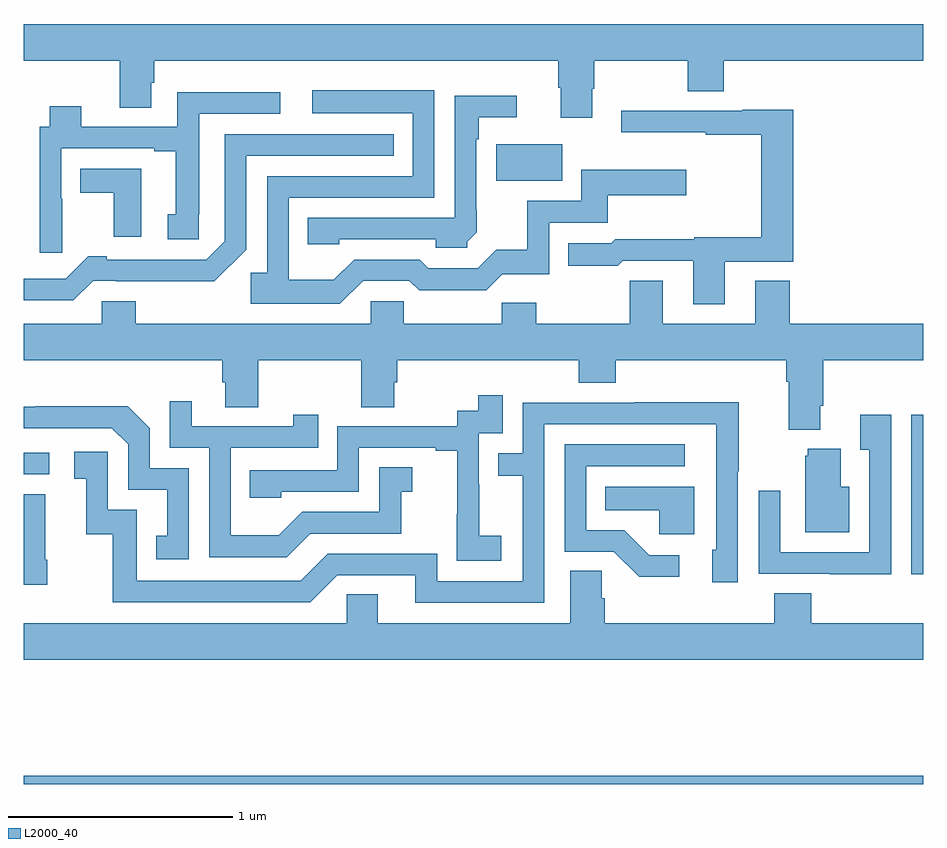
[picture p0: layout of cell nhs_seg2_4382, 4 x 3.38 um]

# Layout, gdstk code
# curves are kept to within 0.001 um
import gdstk
lib = gdstk.Library(unit=1e-6, precision=1e-09)
def R(c, l, rs):  # rectangles x0, y0, x1, y1
    for r in rs: c.add(gdstk.rectangle(r[:2], r[2:], *l))
def P(c, l, *ps):  # polygons
    for p in ps: c.add(gdstk.Polygon(p, *l))
L2000_40 = (2000, 40)

nhs_seg2_4382 = lib.new_cell('nhs_seg2_4382')
R(nhs_seg2_4382, L2000_40, [(349,597.8,353,597.836), (352.947,598.733,353,599.443), (349,599.178,349.114,599.274), (351.102,600.482,351.395,600.646)])
P(nhs_seg2_4382, L2000_40, [(351.529,600.892),(351.537,600.892),(351.537,601.016),(351.952,601.016),(351.952,600.88),(352.112,600.88),(352.112,601.016),(353,601.016),(353,601.18),(349,601.18),(349,601.016),(349.427,601.016),(349.427,600.808),(349.567,600.808),(349.567,600.918),(349.58,600.918),(349.58,601.016),(351.377,601.016),(351.377,600.897),(351.389,600.897),(351.389,600.762),(351.529,600.762)],
  [(350.509,600.039),(350.715,600.039),(350.758,599.997),(351.056,599.997),(351.128,600.068),(351.336,600.068),(351.336,600.297),(351.596,600.297),(351.596,600.419),(351.946,600.419),(351.946,600.532),(351.48,600.532),(351.48,600.393),(351.238,600.393),(351.238,600.177),(351.102,600.177),(351.018,600.093),(350.799,600.093),(350.76,600.132),(350.469,600.132),(350.379,600.042),(350.178,600.042),(350.178,600.408),(350.826,600.408),(350.826,600.886),(350.283,600.886),(350.283,600.782),(350.73,600.782),(350.73,600.504),(350.082,600.504),(350.082,600.074),(350.009,600.074),(350.009,599.936),(350.406,599.936)],
  [(349.17,600.402),(349.167,600.402),(349.167,600.627),(349.58,600.627),(349.58,600.615),(349.676,600.615),(349.676,600.335),(349.64,600.335),(349.64,600.222),(349.778,600.222),(349.778,600.334),(349.78,600.334),(349.78,600.78),(350.14,600.78),(350.14,600.877),(349.683,600.877),(349.683,600.723),(349.255,600.723),(349.255,600.814),(349.115,600.814),(349.115,600.723),(349.07,600.723),(349.07,600.162),(349.17,600.162)],
  [(350.973,600.212),(351.015,600.253),(351.015,600.352),(351.012,600.352),(351.012,600.668),(351.024,600.668),(351.024,600.765),(351.193,600.765),(351.193,600.862),(350.916,600.862),(350.916,600.318),(350.263,600.318),(350.263,600.201),(350.403,600.201),(350.403,600.222),(350.831,600.222),(350.831,600.186),(350.973,600.186)],
  [(352.117,600.123),(352.421,600.123),(352.421,600.798),(352.195,600.798),(352.195,600.795),(351.657,600.795),(351.657,600.698),(352.033,600.698),(352.033,600.687),(352.279,600.687),(352.279,600.232),(351.981,600.232),(351.981,600.223),(351.631,600.223),(351.612,600.204),(351.421,600.204),(351.421,600.104),(351.641,600.104),(351.663,600.126),(351.977,600.126),(351.977,599.934),(352.117,599.934)],
  [(349.308,600.039),(349.408,600.039),(349.408,600.035),(349.848,600.035),(349.989,600.176),(349.989,600.594),(350.645,600.594),(350.645,600.69),(349.893,600.69),(349.893,600.213),(349.812,600.132),(349.369,600.132),(349.369,600.147),(349.287,600.147),(349.186,600.046),(349,600.046),(349,599.952),(349.221,599.952)],
  [(349.522,600.537),(349.252,600.537),(349.252,600.429),(349.4,600.429),(349.4,600.234),(349.522,600.234)],
  [(352.406,600.038),(352.253,600.038),(352.253,599.848),(351.841,599.848),(351.841,600.038),(351.694,600.038),(351.694,599.848),(351.279,599.848),(351.279,599.941),(351.125,599.941),(351.125,599.848),(350.69,599.848),(350.69,599.946),(350.544,599.946),(350.544,599.848),(349.499,599.848),(349.499,599.946),(349.347,599.946),(349.347,599.848),(349,599.848),(349,599.684),(349.883,599.684),(349.883,599.586),(349.895,599.586),(349.895,599.476),(350.043,599.476),(350.043,599.684),(350.5,599.684),(350.5,599.476),(350.647,599.476),(350.647,599.586),(350.66,599.586),(350.66,599.684),(351.467,599.684),(351.467,599.585),(351.632,599.585),(351.632,599.684),(352.391,599.684),(352.391,599.588),(352.403,599.588),(352.403,599.375),(352.543,599.375),(352.543,599.482),(352.556,599.482),(352.556,599.684),(353,599.684),(353,599.848),(352.406,599.848)],
  [(351.124,598.903),(351.026,598.903),(351.026,599.132),(351.024,599.132),(351.024,599.361),(351.129,599.361),(351.129,599.53),(351.021,599.53),(351.021,599.46),(350.928,599.46),(350.928,599.391),(350.394,599.391),(350.394,599.196),(350.005,599.196),(350.005,599.073),(350.145,599.073),(350.145,599.1),(350.49,599.1),(350.49,599.295),(350.831,599.295),(350.831,599.283),(350.927,599.283),(350.927,598.999),(350.926,598.999),(350.926,598.793),(351.124,598.793)],
  [(350.275,598.914),(350.679,598.914),(350.679,599.099),(350.728,599.099),(350.728,599.209),(350.58,599.209),(350.58,599.01),(350.238,599.01),(350.134,598.906),(349.92,598.906),(349.92,599.295),(350.309,599.295),(350.309,599.443),(350.198,599.443),(350.198,599.391),(349.747,599.391),(349.747,599.503),(349.65,599.503),(349.65,599.295),(349.824,599.295),(349.824,598.809),(350.17,598.809)],
  [(351.315,599.4),(352.079,599.4),(352.08,598.842),(352.061,598.842),(352.061,598.698),(352.176,598.698),(352.176,599.191),(352.179,599.191),(352.179,599.498),(351.715,599.498),(351.715,599.496),(351.219,599.496),(351.219,599.271),(351.109,599.271),(351.109,599.17),(351.219,599.17),(351.219,598.701),(350.838,598.701),(350.838,598.824),(350.352,598.824),(350.232,598.704),(349.503,598.704),(349.503,599.019),(349.374,599.019),(349.374,599.278),(349.224,599.278),(349.224,599.157),(349.277,599.157),(349.277,598.911),(349.395,598.911),(349.395,598.608),(350.274,598.608),(350.394,598.728),(350.741,598.728),(350.741,598.605),(351.315,598.605)],
  [(349.734,599.205),(349.56,599.205),(349.56,599.382),(349.462,599.48),(349.054,599.48),(349.054,599.478),(349,599.478),(349,599.382),(349.392,599.382),(349.464,599.31),(349.464,599.109),(349.637,599.109),(349.637,598.905),(349.588,598.905),(349.588,598.8),(349.734,598.8)],
  [(352.857,599.443),(352.721,599.443),(352.721,599.287),(352.761,599.287),(352.761,598.83),(352.365,598.83),(352.365,599.104),(352.269,599.104),(352.269,598.734),(352.585,598.734),(352.585,598.733),(352.857,598.733)],
  [(351.916,598.818),(351.781,598.818),(351.67,598.929),(351.501,598.929),(351.501,599.214),(351.94,599.214),(351.94,599.31),(351.405,599.31),(351.405,598.833),(351.624,598.833),(351.737,598.721),(351.916,598.721)],
  [(352.672,599.122),(352.633,599.122),(352.633,599.29),(352.487,599.29),(352.487,599.259),(352.475,599.259),(352.475,598.919),(352.672,598.919)],
  [(351.982,599.122),(351.586,599.122),(351.586,599.018),(351.825,599.018),(351.825,598.91),(351.982,598.91)],
  [(349.104,598.798),(349.096,598.798),(349.096,599.089),(349,599.089),(349,598.686),(349.104,598.686)],
  [(353,598.516),(352.502,598.516),(352.502,598.649),(352.337,598.649),(352.337,598.516),(351.584,598.516),(351.584,598.625),(351.57,598.625),(351.57,598.748),(351.431,598.748),(351.431,598.516),(350.575,598.516),(350.575,598.643),(350.436,598.643),(350.436,598.516),(349,598.516),(349,598.352),(353,598.352)])

lib.write_gds('nhs_seg2_4382.gds')
